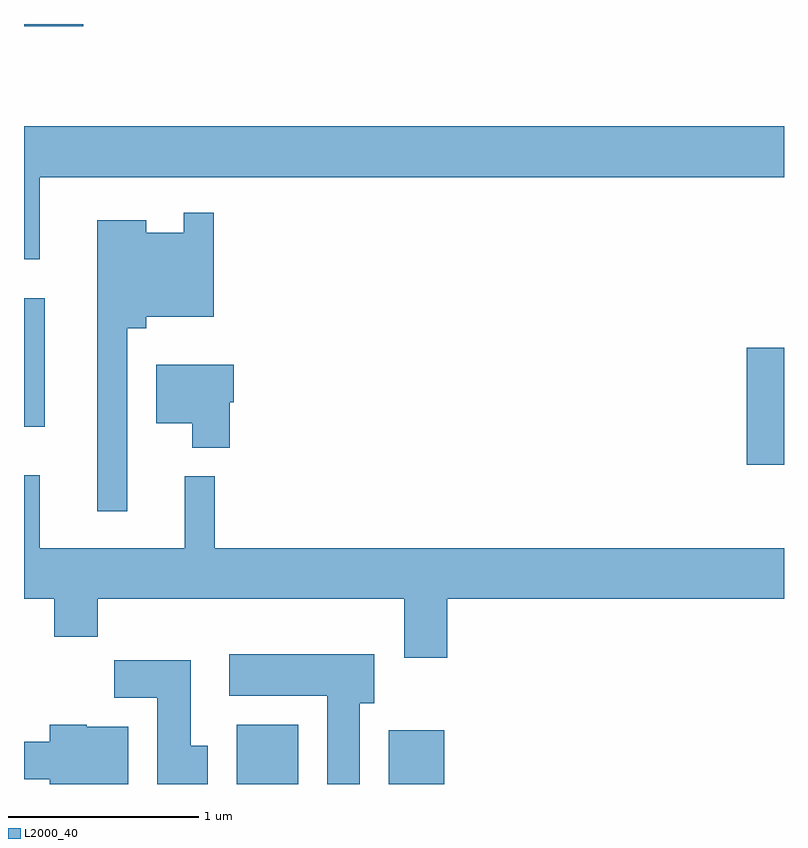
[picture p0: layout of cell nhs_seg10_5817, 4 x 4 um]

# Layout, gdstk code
import gdstk
lib = gdstk.Library(unit=1e-6, precision=1e-09)
def R(c, l, rs):  # rectangles x0, y0, x1, y1
    for r in rs: c.add(gdstk.rectangle(r[:2], r[2:], *l))
def P(c, l, *ps):  # polygons
    for p in ps: c.add(gdstk.Polygon(p, *l))
L2000_40 = (2000, 40)

nhs_seg10_5817 = lib.new_cell('nhs_seg10_5817')
R(nhs_seg10_5817, L2000_40, [(358.731,2088.522,359.054,2088.834), (359.531,2088.522,359.824,2088.804), (361.416,2090.201,361.611,2090.819), (357.611,2090.401,357.719,2091.079), (357.611,2092.511,357.924,2092.522)])
P(nhs_seg10_5817, L2000_40, [(357.694,2091.716),(361.611,2091.716),(361.611,2091.984),(357.611,2091.984),(357.611,2091.283),(357.694,2091.283)],
  [(358.154,2090.921),(358.254,2090.921),(358.254,2090.981),(358.609,2090.981),(358.609,2091.528),(358.451,2091.528),(358.451,2091.424),(358.254,2091.424),(358.254,2091.489),(357.996,2091.489),(357.996,2089.958),(358.154,2089.958)],
  [(358.694,2090.531),(358.714,2090.531),(358.714,2090.729),(358.306,2090.729),(358.306,2090.421),(358.496,2090.421),(358.496,2090.291),(358.694,2090.291)],
  [(359.839,2089.496),(361.611,2089.496),(361.611,2089.764),(358.614,2089.764),(358.614,2090.143),(358.456,2090.143),(358.456,2089.764),(357.694,2089.764),(357.694,2090.148),(357.611,2090.148),(357.611,2089.496),(357.771,2089.496),(357.771,2089.296),(357.999,2089.296),(357.999,2089.496),(359.611,2089.496),(359.611,2089.186),(359.839,2089.186)],
  [(359.379,2088.946),(359.454,2088.946),(359.454,2089.204),(358.691,2089.204),(358.691,2088.986),(359.206,2088.986),(359.206,2088.522),(359.379,2088.522)],
  [(358.579,2088.724),(358.489,2088.724),(358.489,2089.174),(358.086,2089.174),(358.086,2088.976),(358.311,2088.976),(358.311,2088.522),(358.579,2088.522)],
  [(358.159,2088.824),(357.94,2088.824),(357.94,2088.834),(357.746,2088.834),(357.746,2088.744),(357.611,2088.744),(357.611,2088.546),(357.746,2088.546),(357.746,2088.522),(358.159,2088.522)])

lib.write_gds('nhs_seg10_5817.gds')
